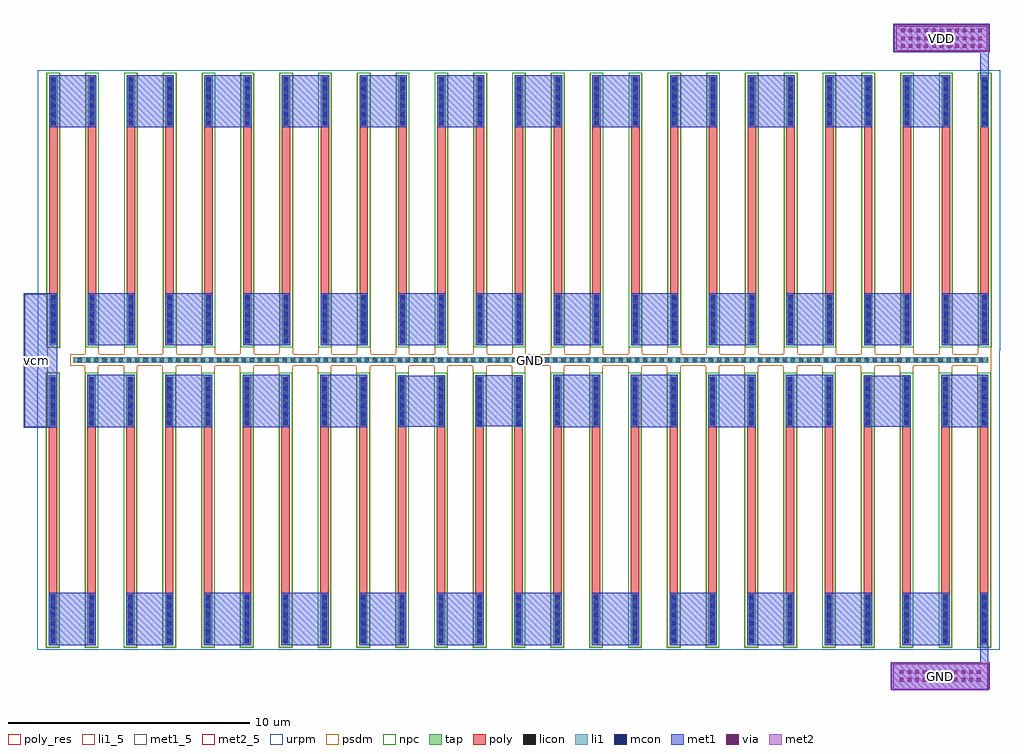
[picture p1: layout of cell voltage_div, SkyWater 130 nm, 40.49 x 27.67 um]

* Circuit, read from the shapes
.subckt voltage_div GND VDD vcm
XR1 vcm n1 GND sky130_fd_pr__res_xhigh_po w=0.35 l=6.88
XR2 n2 vcm GND sky130_fd_pr__res_xhigh_po w=0.35 l=6.88
XR3 n3 n1 GND sky130_fd_pr__res_xhigh_po w=0.35 l=6.88
XR4 n2 n4 GND sky130_fd_pr__res_xhigh_po w=0.35 l=6.88
XR5 n3 n5 GND sky130_fd_pr__res_xhigh_po w=0.35 l=6.88
XR6 n6 n4 GND sky130_fd_pr__res_xhigh_po w=0.35 l=6.88
XR7 n7 n5 GND sky130_fd_pr__res_xhigh_po w=0.35 l=6.88
XR8 n6 n8 GND sky130_fd_pr__res_xhigh_po w=0.35 l=6.88
XR9 n7 n9 GND sky130_fd_pr__res_xhigh_po w=0.35 l=6.88
XR10 n10 n8 GND sky130_fd_pr__res_xhigh_po w=0.35 l=6.88
XR11 n11 n9 GND sky130_fd_pr__res_xhigh_po w=0.35 l=6.88
XR12 n10 n12 GND sky130_fd_pr__res_xhigh_po w=0.35 l=6.88
XR13 n11 n13 GND sky130_fd_pr__res_xhigh_po w=0.35 l=6.88
XR14 n14 n12 GND sky130_fd_pr__res_xhigh_po w=0.35 l=6.88
XR15 n15 n13 GND sky130_fd_pr__res_xhigh_po w=0.35 l=6.88
XR16 n14 n16 GND sky130_fd_pr__res_xhigh_po w=0.35 l=6.88
XR17 n15 n17 GND sky130_fd_pr__res_xhigh_po w=0.35 l=6.88
XR18 n18 n16 GND sky130_fd_pr__res_xhigh_po w=0.35 l=6.88
XR19 n19 n17 GND sky130_fd_pr__res_xhigh_po w=0.35 l=6.88
XR20 n18 n20 GND sky130_fd_pr__res_xhigh_po w=0.35 l=6.88
XR21 n19 n21 GND sky130_fd_pr__res_xhigh_po w=0.35 l=6.88
XR22 n22 n20 GND sky130_fd_pr__res_xhigh_po w=0.35 l=6.88
XR23 n23 n21 GND sky130_fd_pr__res_xhigh_po w=0.35 l=6.88
XR24 n22 n24 GND sky130_fd_pr__res_xhigh_po w=0.35 l=6.88
XR25 n23 n25 GND sky130_fd_pr__res_xhigh_po w=0.35 l=6.88
XR26 n26 n24 GND sky130_fd_pr__res_xhigh_po w=0.35 l=6.88
XR27 n27 n25 GND sky130_fd_pr__res_xhigh_po w=0.35 l=6.88
XR28 n26 n28 GND sky130_fd_pr__res_xhigh_po w=0.35 l=6.88
XR29 n27 n29 GND sky130_fd_pr__res_xhigh_po w=0.35 l=6.88
XR30 n30 n28 GND sky130_fd_pr__res_xhigh_po w=0.35 l=6.88
XR31 n31 n29 GND sky130_fd_pr__res_xhigh_po w=0.35 l=6.88
XR32 n30 n32 GND sky130_fd_pr__res_xhigh_po w=0.35 l=6.88
XR33 n31 n33 GND sky130_fd_pr__res_xhigh_po w=0.35 l=6.88
XR34 n34 n32 GND sky130_fd_pr__res_xhigh_po w=0.35 l=6.88
XR35 n35 n33 GND sky130_fd_pr__res_xhigh_po w=0.35 l=6.88
XR36 n34 n36 GND sky130_fd_pr__res_xhigh_po w=0.35 l=6.88
XR37 n35 n37 GND sky130_fd_pr__res_xhigh_po w=0.35 l=6.88
XR38 n38 n36 GND sky130_fd_pr__res_xhigh_po w=0.35 l=6.88
XR39 n39 n37 GND sky130_fd_pr__res_xhigh_po w=0.35 l=6.88
XR40 n38 n40 GND sky130_fd_pr__res_xhigh_po w=0.35 l=6.88
XR41 n39 n41 GND sky130_fd_pr__res_xhigh_po w=0.35 l=6.88
XR42 n42 n40 GND sky130_fd_pr__res_xhigh_po w=0.35 l=6.88
XR43 n43 n41 GND sky130_fd_pr__res_xhigh_po w=0.35 l=6.88
XR44 n42 n44 GND sky130_fd_pr__res_xhigh_po w=0.35 l=6.88
XR45 n43 n45 GND sky130_fd_pr__res_xhigh_po w=0.35 l=6.88
XR46 n46 n44 GND sky130_fd_pr__res_xhigh_po w=0.35 l=6.88
XR47 n47 n45 GND sky130_fd_pr__res_xhigh_po w=0.35 l=6.88
XR48 n46 n48 GND sky130_fd_pr__res_xhigh_po w=0.35 l=6.88
XR49 n47 GND GND sky130_fd_pr__res_xhigh_po w=0.35 l=6.88
XR50 VDD n48 GND sky130_fd_pr__res_xhigh_po w=0.35 l=6.88
.ends

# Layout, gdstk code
import gdstk
lib = gdstk.Library(unit=1e-6, precision=1e-09)
def R(c, l, rs):  # rectangles x0, y0, x1, y1
    for r in rs: c.add(gdstk.rectangle(r[:2], r[2:], *l))
def A(c, l, x, y, w, h, nx, ny, dx, dy):  # array of equal rectangles
    R(c, l, [(x+i*dx, y+j*dy, x+i*dx+w, y+j*dy+h) for i in range(nx) for j in range(ny)])
tap = (65, 44)
poly_res = (66, 13)
poly = (66, 20)
licon = (66, 44)
li1_5 = (67, 5)
li1 = (67, 20)
mcon = (67, 44)
met1_5 = (68, 5)
met1 = (68, 20)
via = (68, 44)
met2_5 = (69, 5)
met2 = (69, 20)
urpm = (79, 20)
psdm = (94, 20)
npc = (95, 20)

voltage_div = lib.new_cell('voltage_div')
R(voltage_div, tap, [(2.04,-1.36,40,-1.14)])
A(voltage_div, poly_res, 1.02, -10.975, 0.35, 7, 25, 1, 1.61, 0)
A(voltage_div, poly_res, 1.04, 1.465, 0.35, 7, 25, 1, 1.61, 0)
A(voltage_div, poly, 1.02, -13.075, 0.35, 11.2, 25, 1, 1.61, 0)
A(voltage_div, poly, 1.04, -0.635, 0.35, 11.2, 25, 1, 1.61, 0)
A(voltage_div, licon, 1.1, -12.995, 0.19, 2, 25, 2, 1.61, 9.04)
A(voltage_div, licon, 2.235, -1.335, 0.17, 0.17, 111, 1, 0.34, 0)
A(voltage_div, licon, 1.12, -0.555, 0.19, 2, 25, 2, 1.61, 9.04)
R(voltage_div, li1_5, [(2.16,-1.36,39.88,-1.14)])
A(voltage_div, li1, 1.02, -13.075, 0.35, 2.16, 25, 2, 1.61, 9.04)
A(voltage_div, li1, 1.04, -0.635, 0.35, 2.16, 25, 2, 1.61, 9.04)
R(voltage_div, li1, [(2.08,-1.36,39.96,-1.14)])
A(voltage_div, mcon, 1.11, -12.98, 0.17, 0.17, 25, 6, 1.61, 0.36)
A(voltage_div, mcon, 1.11, -3.945, 0.17, 0.17, 25, 6, 1.61, 0.36)
A(voltage_div, mcon, 1.13, -0.54, 0.17, 0.17, 25, 6, 1.61, 0.36)
A(voltage_div, mcon, 1.13, 8.495, 0.17, 0.17, 25, 6, 1.61, 0.36)
R(voltage_div, met1_5, [(0.04,-4.02,0.98,1.48)])
A(voltage_div, met1, 1.02, -13.08, 1.96, 2.17, 12, 1, 3.22, 0)
A(voltage_div, met1, 2.63, -4.04, 1.96, 2.17, 4, 1, 3.22, 0)
A(voltage_div, met1, 21.95, -4.04, 1.96, 2.17, 4, 1, 3.22, 0)
A(voltage_div, met1, 2.65, -0.64, 1.96, 2.17, 12, 1, 3.22, 0)
A(voltage_div, met1, 1.04, 8.4, 1.96, 2.17, 12, 1, 3.22, 0)
R(voltage_div, met1, [(35.96,-14.91,40.06,-13.78), (39.68,-13.78,40.01,-10.91), (0,-4.06,1.38,1.53), (38.05,-4.04,40.01,-1.87), (15.53,-4.02,17.45,-1.91), (34.84,-4.02,36.77,-1.9), (18.75,-4,20.67,-1.89), (39.73,8.43,39.98,10.42), (39.68,10.42,40.03,11.51), (36.06,11.51,40.06,12.71)])
A(voltage_div, via, 36.335, -14.59, 0.15, 0.15, 11, 2, 0.32, 0.32)
A(voltage_div, via, 36.39, 11.7, 0.15, 0.15, 11, 3, 0.32, 0.32)
R(voltage_div, met2_5, [(36.06,-14.91,39.98,-13.86), (36.18,11.58,39.96,12.6)])
R(voltage_div, met2, [(35.98,-14.96,40.03,-13.8), (36.11,11.54,40.02,12.66)])
R(voltage_div, urpm, [(0.56,-13.275,40.47,-1.675), (0.58,-1.675,40.47,-0.835), (0.58,-0.835,40.49,10.765)])
A(voltage_div, psdm, 2.52, -13.185, 0.57, 11.7, 24, 1, 1.61, 0)
A(voltage_div, psdm, 2.54, -1.015, 0.57, 11.69, 23, 1, 1.61, 0)
R(voltage_div, psdm, [(0.91,-13.185,1.48,-1.765), (1.915,-1.485,40.125,-1.015), (39.57,-1.015,40.125,-0.745), (0.93,-0.745,1.5,10.675), (39.57,-0.745,40.14,10.675)])
A(voltage_div, npc, 0.925, -13.17, 0.54, 11.39, 25, 1, 1.61, 0)
A(voltage_div, npc, 0.945, -0.73, 0.54, 11.39, 25, 1, 1.61, 0)
voltage_div.add(gdstk.Label('vcm', (0.51,-1.27), layer=68, texttype=5))
voltage_div.add(gdstk.Label('GND', (38.02,-14.385), layer=69, texttype=5))
voltage_div.add(gdstk.Label('GND', (21.02,-1.25), layer=67, texttype=5))
voltage_div.add(gdstk.Label('VDD', (38.07,12.09), layer=69, texttype=5))

lib.write_gds('voltage_div.gds')
